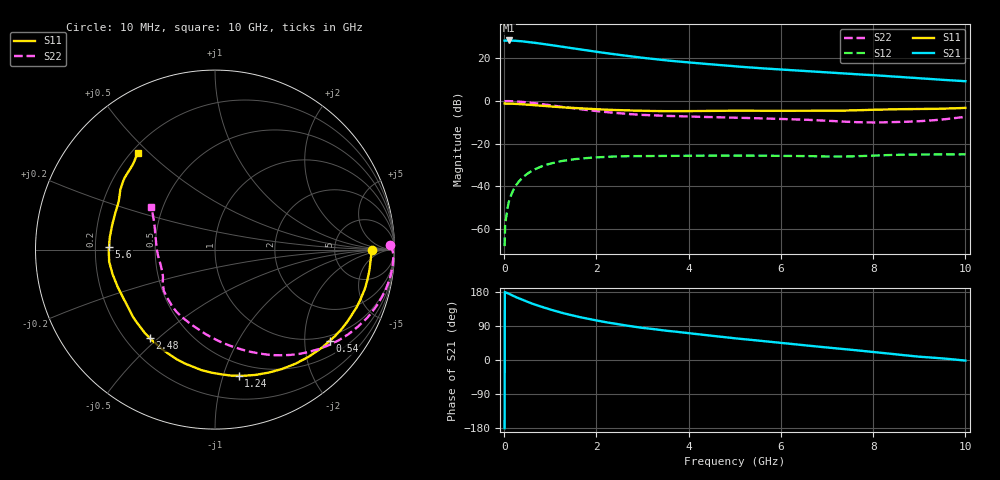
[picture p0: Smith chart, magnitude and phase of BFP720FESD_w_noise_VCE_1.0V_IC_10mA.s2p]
! Infineon Technologies  Discrete & RF Semiconductors
! BFP720FESD
! VCE =  1.0 V,  IC =  10 mA
! Common Emitter S-Parameters:  Jan 2016
# GHz  S  MA  R  50
!  f  S11  S21  S12  S22
! GHz  MAG  ANG  MAG  ANG  MAG  ANG  MAG  ANG
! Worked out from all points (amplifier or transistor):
!   233 points, 10 MHz to 10 GHz, reference 50 ohm
!   highest |S21| = 28.3 dB at 100 MHz (marker M1)
!   |S21| within 3 dB of that: start of sweep to 1.277 GHz
!   unconditionally stable (mu >= 1): 6.43 GHz to end of sweep
!   at 200 MHz: K = 0.04, MSG = 35.0 dB, |S12| = -41.6 dB
!   at 1.74 GHz: K = 0.30, MSG = 25.3 dB, |S12| = -26.8 dB
!   at 10 GHz: K = 1.40, MAG = 13.4 dB, |S12| = -25.0 dB
!   lowest NFmin = 0.67 dB at 450 MHz
!   S11 on the Smith chart (normalised r, x): 10 MHz: 15, -0; 540 MHz: 0.86, -2.62; 1.24 GHz: 0.39, -1.13; 2.48 GHz: 0.30, -0.47; 5.6 GHz: 0.26, +0.01; 10 GHz: 0.22, +0.46
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0.01  0.8769 -0.1  25.85 -179.9  0.0004 96.9  0.9761 1.4
0.025  0.871 -1.9  25.94 178.9  0.0013 87.9  0.9918 -1.0
0.1  0.8685 -7.3  26.15 175.0  0.0043 85.1  0.9941 -4.9
0.2  0.8629 -14.8  25.96 169.2  0.0083 81.5  0.9855 -10.0
0.3  0.8521 -22.1  25.5 163.7  0.0123 77.7  0.9707 -14.8
0.42  0.8358 -30.4  24.74 157.6  0.0168 72.9  0.9473 -20.4
0.54  0.8166 -38.5  23.9 151.9  0.021 68.3  0.9192 -25.8
0.7  0.793 -48.8  22.76 144.9  0.0262 62.8  0.8796 -32.5
0.9  0.7626 -60.8  21.23 136.9  0.0318 56.4  0.8267 -40.3
1.24  0.7151 -79.4  18.77 124.9  0.0392 46.9  0.7364 -52.4
1.4  0.6954 -87.3  17.66 119.9  0.0417 43.1  0.6964 -57.7
1.68  0.6672 -99.5  15.94 112.1  0.0452 37.3  0.6365 -65.8
2.14  0.6317 -115.9  13.52 101.2  0.0488 29.8  0.5603 -77.7
2.48  0.6118 -126.6  12.09 94.2  0.0505 25.3  0.5184 -85.8
3  0.5914 -140.4  10.28 84.8  0.0514 20.0  0.4731 -96.4
3.4  0.5799 -148.2  9.205 79.1  0.0516 17.9  0.4537 -101.9
4.3  0.5831 -163.5  7.504 66.7  0.0526 13.8  0.4249 -113.0
5.1  0.5926 -174.8  6.369 56.2  0.0527 10.8  0.4041 -123.1
5.6  0.5909 178.8  5.815 50.2  0.0525 9.6  0.3914 -128.7
6.8  0.5901 161.8  4.807 35.4  0.0508 8.0  0.3539 -144.7
8.4  0.6384 143.3  3.781 16.1  0.0546 11.2  0.3196 -174.7
10  0.6895 128.7  2.908 -1.5  0.0565 8.1  0.4257 146.3
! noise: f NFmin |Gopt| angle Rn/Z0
0.45  0.67  0.34  3  0.12
2.4  0.75  0.2  29  0.13
5.5  0.89  0.27  115  0.09
10  1.35  0.26  -149  0.11
